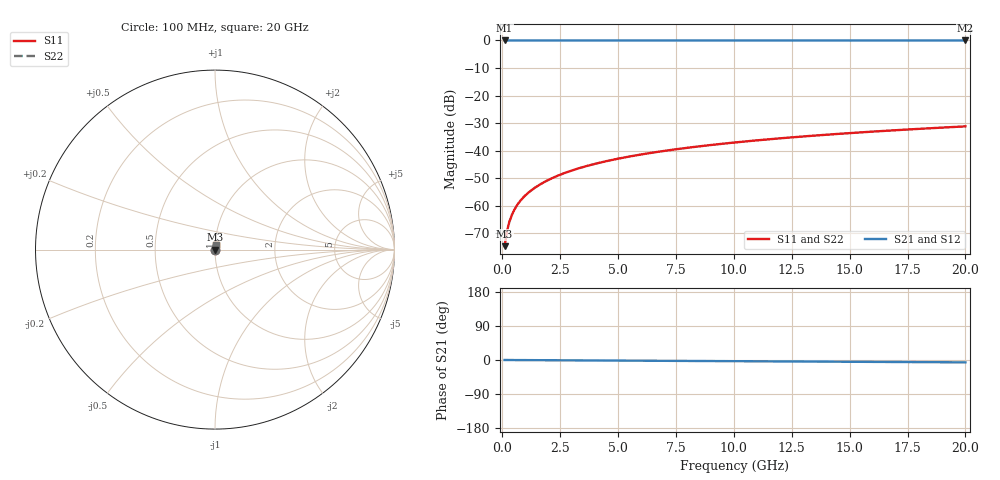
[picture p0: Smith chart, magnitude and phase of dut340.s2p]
! Touchstone file exported from HFSS 2026.1.0
!  File:  C:/ffzhzh/LocalFiles/Ansys_Project_Files/temp_train_TSV_340_1783018859_51716.aedt
!  Generated:  03:02:43 AM Jul  3, 2026
!  Design:  TSV
!  Project:  temp_train_TSV_340_1783018859_51716
! Variables:
!  h_bsmrdl = 2um
!  h_ox = 20um
!  h_rdl = 5um
!  h_sub = 52.44um
!  h_tmrdl = 5um
!  h_tsv = 52.44um
!  h_via = 3um
!  l_bsmrdl = 300um
!  l_sub = 422.28um
!  l_tmrdl = 200um
!  m_sub = 200um
!  pitch = 58.94um
!  r_tsv = 11.14um
!  s_tmrdl = 10um
!  w_bsmrdl = 18um
!  w_sub = 500um
!  w_tmrdl = 12um
!  x_tsv_center1 = 206um
!  x_tsv_center2 = 524um
!  x_tsv_center3 = 736um
!  x_tsv_center4 = 1054um
!  x_tsv_center5 = 1266um
!  x_tsv_center6 = 1584um
# GHz S MA R 50.000000
! Terminal data exported
! Port[1] = TSV1_1_T1
! Port[2] = TSV1_1_T2
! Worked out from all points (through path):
!   200 points, 100 MHz to 20 GHz, reference 50 ohm
!   highest |S21| = 0.00 dB at 100 MHz (marker M1); lowest = 0.0 dB at 20 GHz (marker M2)
!   lowest |S11| = -74.7 dB at 100 MHz (marker M3), VSWR 1.00, Z = 50 + j0.0166 ohm
!   |S11| at or under -10 dB: start of sweep to end of sweep
!   |S22| runs from -74.7 to -31.2 dB; largest |S21 - S12| = 3.5e-15
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0.1  0.0001838 64.5  0.9999 -0.0  0.9999 -0.0  0.0001838 64.5
! Gamma 0 0 0 0
! Port Impedance 50 0 50 0
0.2  0.0003414 75.2  0.9999 -0.1  0.9999 -0.1  0.0003414 75.2
0.3  0.0005009 78.6  0.9999 -0.1  0.9999 -0.1  0.0005009 78.6
0.4  0.0006579 80.0  0.9999 -0.1  0.9999 -0.1  0.0006579 80.0
0.5  0.0008116 80.8  0.9999 -0.2  0.9999 -0.2  0.0008116 80.8
0.6  0.000962 81.2  0.9999 -0.2  0.9999 -0.2  0.000962 81.2
0.7  0.00111 81.6  0.9998 -0.2  0.9998 -0.2  0.00111 81.6
0.9  0.001399 82.2  0.9998 -0.3  0.9998 -0.3  0.001399 82.2
1.1  0.001683 82.6  0.9998 -0.4  0.9998 -0.4  0.001683 82.6
1.3  0.001964 83.1  0.9998 -0.4  0.9998 -0.4  0.001964 83.1
1.6  0.002385 83.6  0.9998 -0.5  0.9998 -0.5  0.002385 83.6
1.9  0.002805 84.0  0.9997 -0.6  0.9997 -0.6  0.002805 84.0
2.6  0.003786 84.7  0.9997 -0.8  0.9997 -0.8  0.003786 84.7
3.5  0.005044 85.0  0.9996 -1.1  0.9996 -1.1  0.005044 85.0
4.2  0.006018 85.1  0.9996 -1.3  0.9996 -1.3  0.006018 85.1
5  0.007128 85.2  0.9996 -1.6  0.9996 -1.6  0.007128 85.2
6.8  0.009609 85.0  0.9995 -2.1  0.9995 -2.1  0.009609 85.0
8.3  0.01166 84.8  0.9994 -2.6  0.9994 -2.6  0.01166 84.8
10.1  0.01412 84.5  0.9993 -3.1  0.9993 -3.1  0.01412 84.5
13.4  0.01861 83.8  0.9992 -4.2  0.9992 -4.2  0.01861 83.8
16.7  0.02308 83.0  0.999 -5.2  0.999 -5.2  0.02308 82.9
20  0.02751 82.1  0.9988 -6.2  0.9988 -6.2  0.02751 82.1
